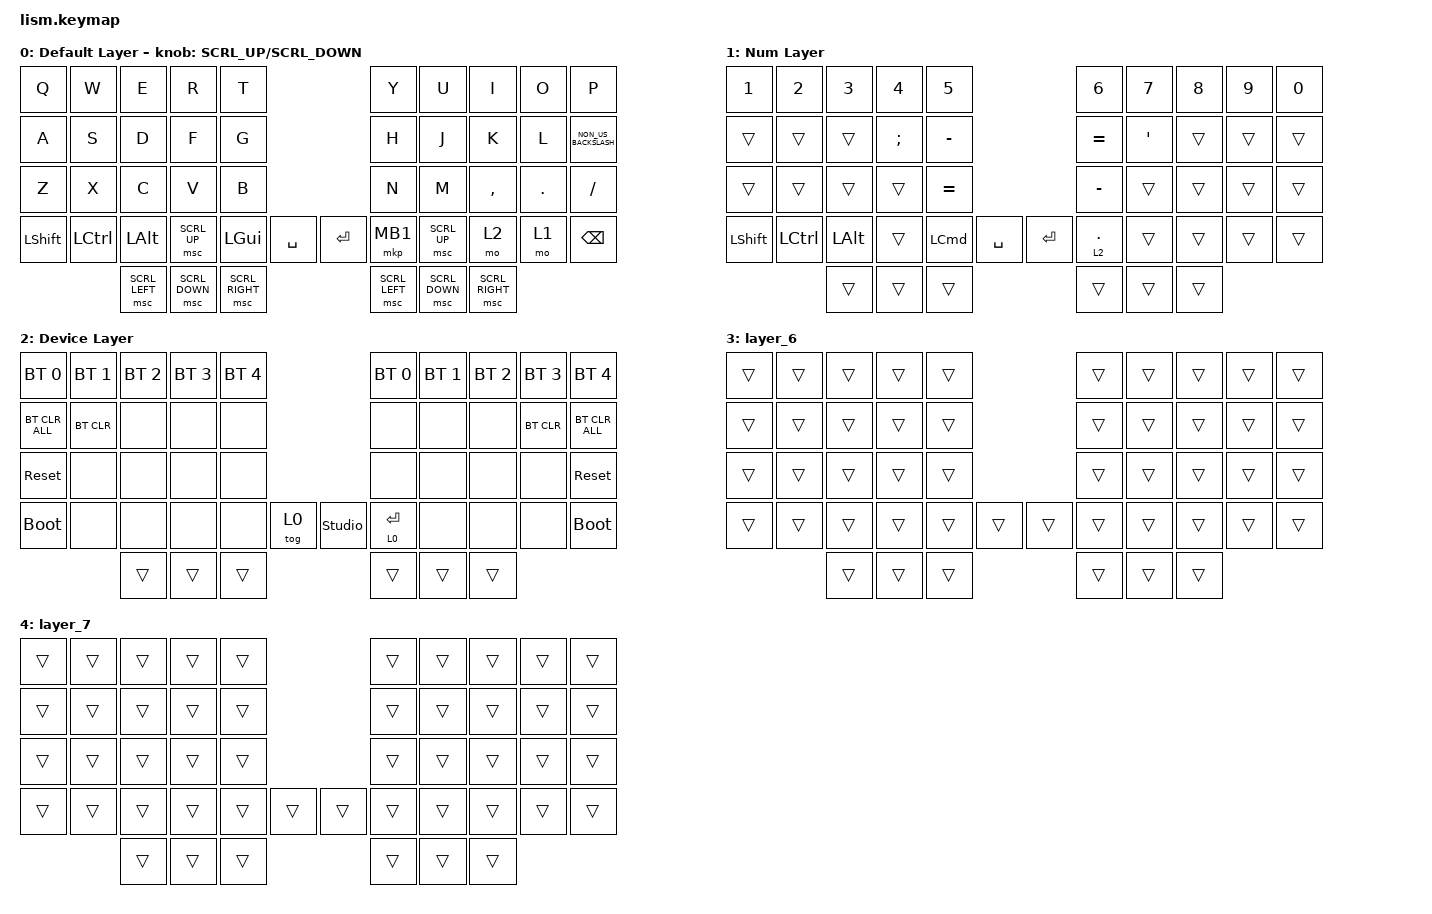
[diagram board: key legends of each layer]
#define ZMK_POINTING_DEFAULT_SCRL_VAL 200

#include <dt-bindings/zmk/mouse.h>
#include <behaviors.dtsi>
#include <dt-bindings/zmk/bt.h>
#include <dt-bindings/zmk/keys.h>
#include <dt-bindings/zmk/pointing.h>

&mt {
    tapping-term-ms = <300>;
    flavor = "balanced";
};

&lt { quick-tap-ms = <300>; };

/ {
    macros {
        emoji: emoji_macro {
            compatible = "zmk,behavior-macro";
            label = "EMOJI";
            #binding-cells = <0>;
            bindings =
                <&macro_press>,
                <&kp CAPSLOCK>,
                <&macro_tap>,
                <&kp E>,
                <&macro_release>,
                <&kp CAPSLOCK>;
        };
    };

    behaviors {
        encoder_msc: sensor_rotate_msc {
            compatible = "zmk,behavior-sensor-rotate-var";
            #sensor-binding-cells = <2>;
            bindings = <&msc>, <&msc>;

            tap-ms = <20>;
        };

        encoder_kp: sensor_rotate_kp {
            compatible = "zmk,behavior-sensor-rotate-var";
            #sensor-binding-cells = <2>;
            bindings = <&kp>, <&kp>;
        };
    };

    keymap {
        compatible = "zmk,keymap";

        default_layer {
            display-name = "Default Layer";
            bindings = <
&kp Q      &kp W      &kp E           &kp R           &kp T                                  &kp Y           &kp U           &kp I            &kp O    &kp P
&kp A      &kp S      &kp D           &kp F           &kp G                                  &kp H           &kp J           &kp K            &kp L    &kp NON_US_BACKSLASH
&kp Z      &kp X      &kp C           &kp V           &kp B                                  &kp N           &kp M           &kp COMMA        &kp DOT  &kp SLASH
&kp LSHFT  &kp LCTRL  &kp LALT        &msc SCRL_UP    &kp LGUI         &kp SPACE    &kp RET  &mkp MB1        &msc SCRL_UP    &mo 2            &mo 1    &kp BSPC
                      &msc SCRL_LEFT  &msc SCRL_DOWN  &msc SCRL_RIGHT                        &msc SCRL_LEFT  &msc SCRL_DOWN  &msc SCRL_RIGHT
            >;

            sensor-bindings = <&encoder_msc SCRL_UP SCRL_DOWN>;
        };

        layer_1 {
            display-name = "Num Layer";
            bindings = <
&kp N1     &kp N2     &kp N3    &kp N4    &kp N5                           &kp N6        &kp N7   &kp N8  &kp N9  &kp N0
&trans     &trans     &trans    &kp SEMI  &kp MINUS                        &kp EQUAL     &kp SQT  &trans  &trans  &trans
&trans     &trans     &trans    &trans    &kp EQUAL                        &kp MINUS     &trans   &trans  &trans  &trans
&kp LSHFT  &kp LCTRL  &kp LALT  &trans    &kp LCMD   &kp SPACE    &kp RET  &lt 2 PERIOD  &trans   &trans  &trans  &trans
                      &trans    &trans    &trans                           &trans        &trans   &trans
            >;
        };

        layer_2 {
            display-name = "Device Layer";
            bindings = <
&bt BT_SEL 0    &bt BT_SEL 1  &bt BT_SEL 2  &bt BT_SEL 3  &bt BT_SEL 4                            &bt BT_SEL 0  &bt BT_SEL 1  &bt BT_SEL 2  &bt BT_SEL 3  &bt BT_SEL 4
&bt BT_CLR_ALL  &bt BT_CLR    &none         &none         &none                                   &none         &none         &none         &bt BT_CLR    &bt BT_CLR_ALL
&sys_reset      &none         &none         &none         &none                                   &none         &none         &none         &none         &sys_reset
&bootloader     &none         &none         &none         &none         &tog 0    &studio_unlock  &lt 0 RET     &none         &none         &none         &bootloader
                              &trans        &trans        &trans                                  &trans        &trans        &trans
            >;
        };

        layer_3 {
            status = "reserved";
            display-name = "Brank Layer";
            bindings = <
&trans  &trans  &trans  &trans  &trans                    &trans  &trans  &trans  &trans  &trans
&trans  &trans  &trans  &trans  &trans                    &trans  &trans  &trans  &trans  &trans
&trans  &trans  &trans  &trans  &trans                    &trans  &trans  &trans  &trans  &trans
&trans  &trans  &trans  &trans  &trans  &trans    &trans  &trans  &trans  &trans  &trans  &trans
                &trans  &trans  &trans                    &trans  &trans  &trans
            >;
        };

        layer_4 {
            status = "reserved";
            display-name = "Brank Layer";
            bindings = <
&trans  &trans  &trans  &trans  &trans                    &trans  &trans  &trans  &trans  &trans
&trans  &trans  &trans  &trans  &trans                    &trans  &trans  &trans  &trans  &trans
&trans  &trans  &trans  &trans  &trans                    &trans  &trans  &trans  &trans  &trans
&trans  &trans  &trans  &trans  &trans  &trans    &trans  &trans  &trans  &trans  &trans  &trans
                &trans  &trans  &trans                    &trans  &trans  &trans
            >;
        };

        layer_5 {
            status = "reserved";
            display-name = "Brank Layer";
            bindings = <
&trans  &trans  &trans  &trans  &trans                    &trans  &trans  &trans  &trans  &trans
&trans  &trans  &trans  &trans  &trans                    &trans  &trans  &trans  &trans  &trans
&trans  &trans  &trans  &trans  &trans                    &trans  &trans  &trans  &trans  &trans
&trans  &trans  &trans  &trans  &trans  &trans    &trans  &trans  &trans  &trans  &trans  &trans
                &trans  &trans  &trans                    &trans  &trans  &trans
            >;
        };

        layer_6 {
            bindings = <
&trans  &trans  &trans  &trans  &trans                    &trans  &trans  &trans  &trans  &trans
&trans  &trans  &trans  &trans  &trans                    &trans  &trans  &trans  &trans  &trans
&trans  &trans  &trans  &trans  &trans                    &trans  &trans  &trans  &trans  &trans
&trans  &trans  &trans  &trans  &trans  &trans    &trans  &trans  &trans  &trans  &trans  &trans
                &trans  &trans  &trans                    &trans  &trans  &trans
            >;
        };

        layer_7 {
            bindings = <
&trans  &trans  &trans  &trans  &trans                    &trans  &trans  &trans  &trans  &trans
&trans  &trans  &trans  &trans  &trans                    &trans  &trans  &trans  &trans  &trans
&trans  &trans  &trans  &trans  &trans                    &trans  &trans  &trans  &trans  &trans
&trans  &trans  &trans  &trans  &trans  &trans    &trans  &trans  &trans  &trans  &trans  &trans
                &trans  &trans  &trans                    &trans  &trans  &trans
            >;
        };
    };
};
